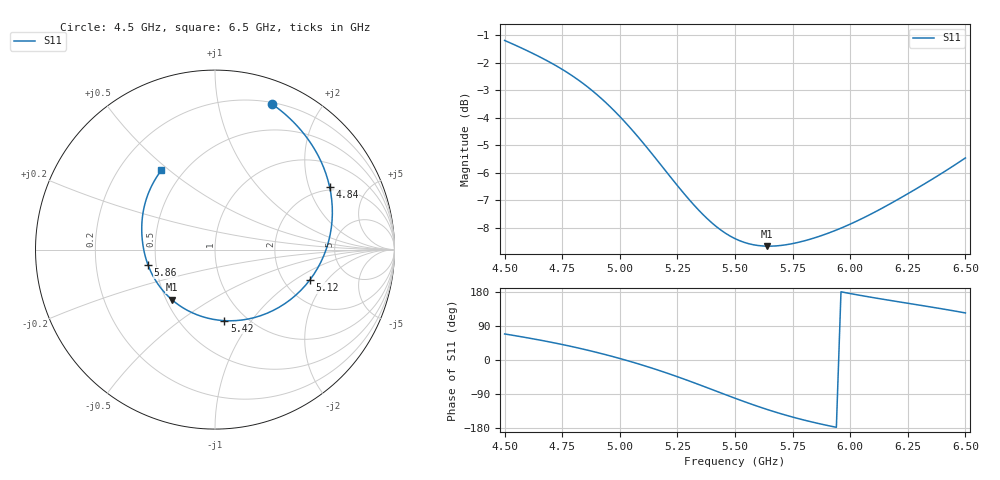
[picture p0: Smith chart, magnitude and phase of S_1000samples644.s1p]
! TOUCHSTONE file generated by CST MICROWAVE STUDIO
! Date and time: Fri Oct 28 21:33:02 2022
! Project name: L.cst
! Parameters = {Di=1.27; Epsilon_r=1.56; InnerDiameter=1.27; Length=2; Lf=10; Lg=60; OuterConductorThickness=0.2921; OuterDiameter=3.6; Wf=3; Wp=41.2; de=1.5; df=6.8; g=0.8; gx=2.15267; gy=1.93557; h=2.34; hf=1.524; px=11.7599; py=11.4171; w=9.7; wx=9.60719; wy=9.4815}
! Header version: 2018
! Port assignment regex: !\s*Touchstone port\s*([0-9]+)\s*=\s*(CST MWS port|CST DS port)\s*([0-9]+|Zmin|Zmax)\s*\(\"(.*)\"\)(\s*mode\s*([0-9]+))?.*
! Touchstone port assignment:
! Touchstone port 1 = CST MWS port 1 ("")
# GHz S DB R 50
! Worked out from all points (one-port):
!   101 points, 4.5 GHz to 6.5 GHz, reference 50 ohm
!   lowest |S11| = -8.7 dB at 5.64 GHz (marker M1), VSWR 2.17, Z = 26.8 - j17.3 ohm
!   |S11| at or under -10 dB: nowhere
!   S11 on the Smith chart (normalised r, x): 4.5 GHz: 0.21, +1.44; 4.84 GHz: 1.85, +2.76; 5.12 GHz: 2.76, -1.35; 5.42 GHz: 0.80, -0.75; 5.86 GHz: 0.45, -0.09; 6.5 GHz: 0.38, +0.47
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4.5  -1.19 68.8
4.58  -1.49 60.5
4.64  -1.74 54.0
4.7  -2.00 47.1
4.76  -2.30 39.6
4.84  -2.75 28.8
4.92  -3.31 16.9
4.96  -3.62 10.6
5  -3.96 4.0
5.06  -4.51 -6.5
5.12  -5.11 -17.7
5.2  -5.95 -33.6
5.26  -6.58 -46.3
5.3  -6.97 -55.1
5.34  -7.35 -64.1
5.38  -7.68 -73.3
5.42  -7.97 -82.5
5.5  -8.40 -100.9
5.58  -8.63 -118.4
5.64  -8.68 -130.6
5.7  -8.65 -141.9
5.76  -8.57 -152.2
5.86  -8.34 -167.2
6  -7.88 175.4
6.14  -7.29 160.6
6.26  -6.72 148.7
6.38  -6.12 136.9
6.5  -5.47 124.2
